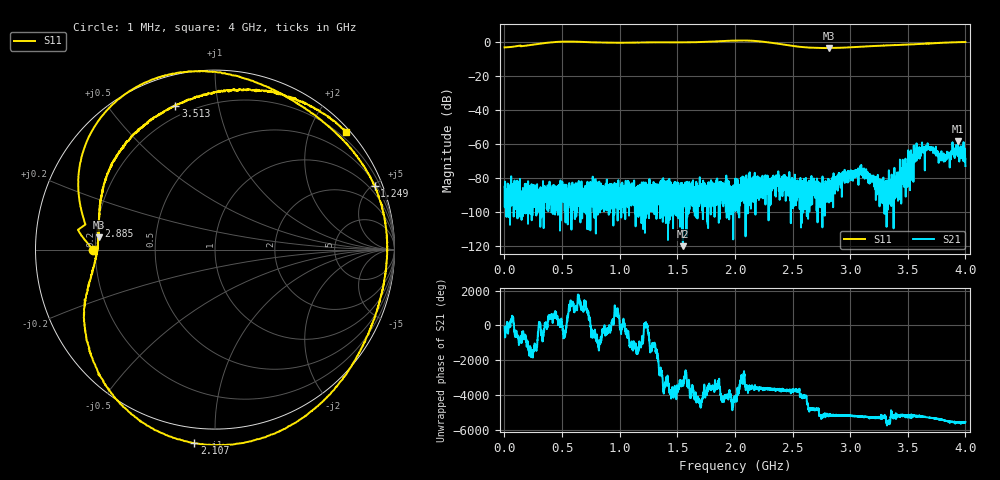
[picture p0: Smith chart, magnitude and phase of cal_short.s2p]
!Created with skrf (http://scikit-rf.org).
# GHz S RI R 50.0
!freq ReS11 ImS11 ReS21 ImS21 ReS12 ImS12 ReS22 ImS22
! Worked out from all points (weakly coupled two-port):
!   4000 points, 1 MHz to 4 GHz, reference 50 ohm
!   highest |S21| = -58.49 dB at 3.936 GHz (marker M1); lowest = -120.2 dB at 1.548 GHz (marker M2)
!   lowest |S11| = -3.7 dB at 2.812 GHz (marker M3), VSWR 4.75, Z = 10.6 + j2.51 ohm
!   |S11| at or under -10 dB: nowhere
!   S12 and S22 are empty: the file has one direction only
!   S11 on the Smith chart (normalised r, x): 1 MHz: 0.19, -0.00; 1.249 GHz: 0.62, +5.17; 2.107 GHz: -0.07, -0.90; 2.885 GHz: 0.21, +0.10; 3.513 GHz: 0.15, +0.75; 4 GHz: 0.08, +2.56
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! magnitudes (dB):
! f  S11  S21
! 1 MHz  -3.3  -85.2
! 668 MHz  -0.1  -82.0
! 1.249 GHz  -0.4  -93.1
! 1.334 GHz  -0.4  -93.5
! 1.548 GHz  -0.4  -120.2
! 2.001 GHz  0.7  -84.0
! 2.107 GHz  0.7  -94.9
! 2.667 GHz  -3.5  -90.1
! 2.812 GHz  -3.7  -90.0
! 2.885 GHz  -3.6  -82.2
! 3.095 GHz  -2.9  -77.1
! 3.193 GHz  -2.5  -81.3
! 3.334 GHz  -2.2  -92.7
! 3.433 GHz  -1.8  -92.2
! 3.513 GHz  -1.6  -71.7
! 3.58 GHz  -1.4  -65.8
! 3.669 GHz  -1.1  -63.4
! 3.813 GHz  -0.6  -70.5
! 3.906 GHz  -0.3  -62.8
! 3.936 GHz  -0.3  -58.5
! 3.979 GHz  -0.2  -65.3
! 4 GHz  -0.2  -73.1
